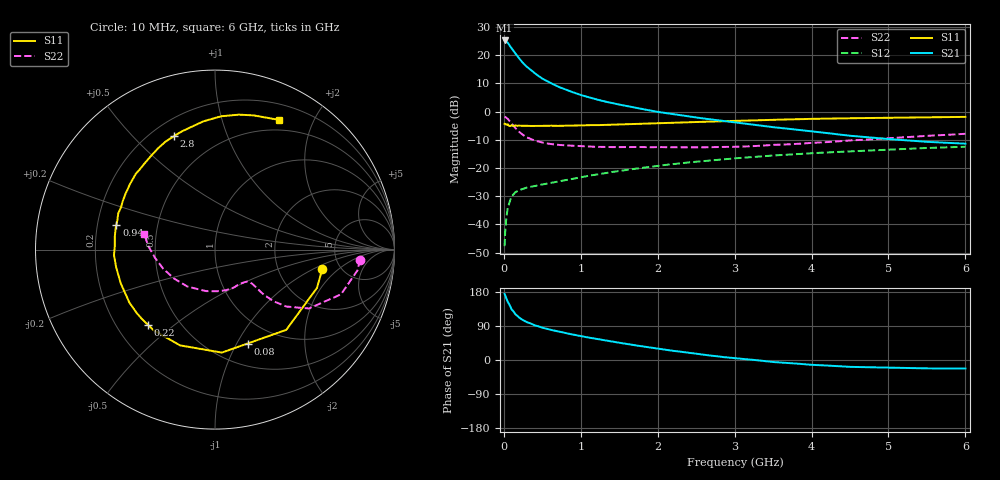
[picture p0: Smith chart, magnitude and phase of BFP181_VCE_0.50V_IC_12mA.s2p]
! Infineon Technologies  Discrete & RF Semiconductors
! BFP181
! VCE = 0.50V,  IC =  12 mA
! Common Emitter S-Parameters:  Jan 2016
# GHz  S  MA  R  50
!  f  S11  S21  S12  S22
! GHz  MAG  ANG  MAG  ANG  MAG  ANG  MAG  ANG
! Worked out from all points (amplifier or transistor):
!   210 points, 10 MHz to 6 GHz, reference 50 ohm
!   highest |S21| = 25.2 dB at 10 MHz (marker M1)
!   |S21| within 3 dB of that: start of sweep to 108.1 MHz
!   unconditionally stable (mu >= 1): start of sweep to 15.56 MHz; 278.9 MHz to end of sweep
!   at 185 MHz: K = 0.73, MSG = 23.7 dB, |S12| = -28.1 dB
!   at 1.52 GHz: K = 2.53, MAG = 4.8 dB, |S12| = -21.0 dB
!   at 6 GHz: K = 2.44, MAG = -6.1 dB, |S12| = -12.5 dB
!   S11 on the Smith chart (normalised r, x): 10 MHz: 3.62, -1.27; 80 MHz: 0.73, -1.11; 220 MHz: 0.33, -0.40; 940 MHz: 0.28, +0.11; 2.8 GHz: 0.29, +0.66; 6 GHz: 0.37, +1.55
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0.01  0.6072 -10.5  18.29 174.5  0.0041 81.4  0.8097 -4.0
0.02  0.6069 -20.6  18.13 169.3  0.0083 75.7  0.8024 -8.3
0.05  0.598 -48.4  16.77 153.7  0.0192 67.8  0.7453 -19.5
0.08  0.5539 -70.9  14.55 142.9  0.0261 56.1  0.6646 -26.5
0.1  0.5752 -86.2  13.43 134.0  0.0311 51.3  0.6175 -32.1
0.15  0.5681 -110.1  10.73 120.8  0.0372 43.0  0.5101 -38.5
0.2  0.5649 -127.1  8.731 111.6  0.0404 39.0  0.4363 -41.4
0.22  0.5611 -131.9  8.123 109.2  0.0413 37.8  0.4153 -41.8
0.26  0.5614 -140.9  7.034 104.0  0.0431 35.8  0.3768 -42.6
0.3  0.561 -148.2  6.215 99.8  0.045 35.0  0.3486 -42.8
0.4  0.5579 -160.4  4.79 91.6  0.0478 35.1  0.3067 -42.5
0.5  0.5594 -169.7  3.848 85.3  0.051 35.4  0.2821 -42.5
0.6  0.5636 -176.9  3.252 80.0  0.0541 36.4  0.2666 -43.1
0.94  0.5663 166.1  2.107 65.5  0.066 40.5  0.2463 -47.3
1.02  0.5695 162.4  1.935 62.3  0.0691 41.1  0.2428 -48.8
1.5  0.5906 145.8  1.333 45.4  0.0882 42.4  0.235 -59.8
2.02  0.6191 129.8  0.98 29.5  0.11 41.1  0.2349 -74.8
2.8  0.673 109.8  0.694 8.7  0.1404 35.8  0.2367 -101.6
3.1  0.6893 103.3  0.618 3.0  0.1516 33.3  0.2394 -112.4
4.1  0.7467 85.8  0.431 -13.6  0.1858 24.4  0.2828 -147.7
5.1  0.7796 72.9  0.319 -20.6  0.2138 15.7  0.3435 -174.6
6  0.8062 63.7  0.27 -22.5  0.238 7.2  0.4039 167.6
